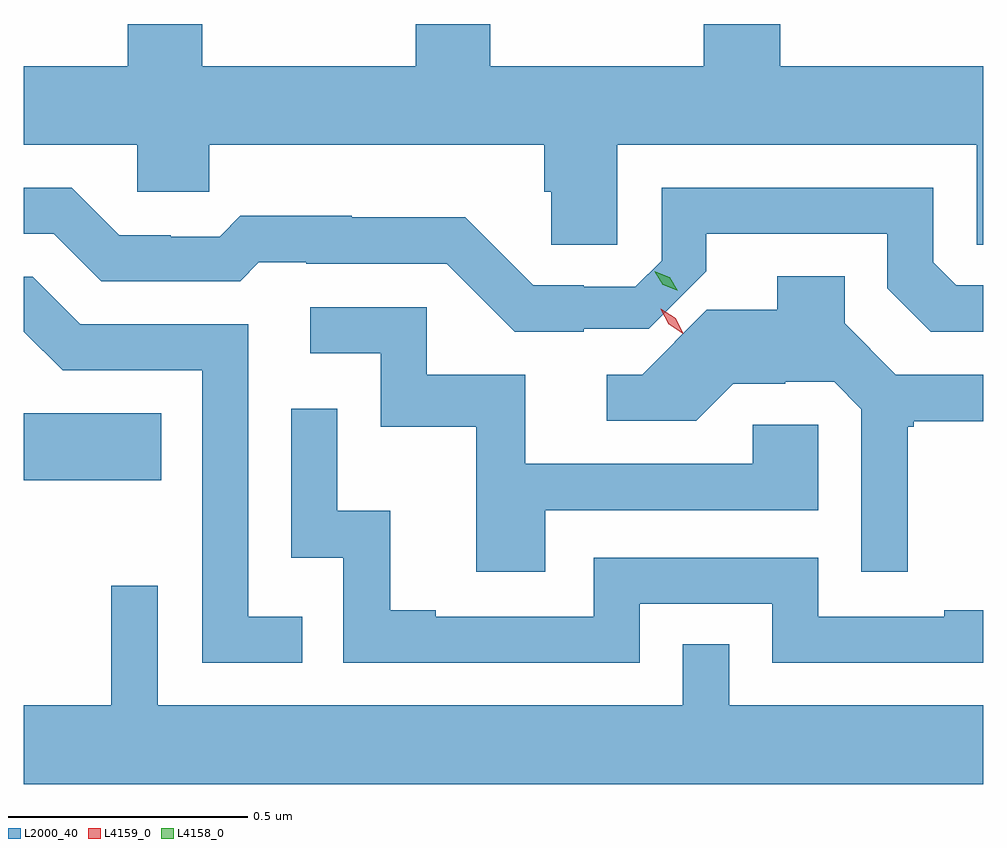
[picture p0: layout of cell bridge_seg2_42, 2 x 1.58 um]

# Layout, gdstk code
import gdstk
lib = gdstk.Library(unit=1e-6, precision=1e-09)
def R(c, l, rs):  # rectangles x0, y0, x1, y1
    for r in rs: c.add(gdstk.rectangle(r[:2], r[2:], *l))
def P(c, l, *ps):  # polygons
    for p in ps: c.add(gdstk.Polygon(p, *l))
L2000_40 = (2000, 40)
L4158_0 = (4158, 0)
L4159_0 = (4159, 0)

bridge_seg2_42 = lib.new_cell('bridge_seg2_42')
R(bridge_seg2_42, L2000_40, [(1143.816,604.313,1144.103,604.453)])
P(bridge_seg2_42, L2000_40, [(1145.053,605.012),(1145.802,605.012),(1145.802,604.804),(1145.816,604.804),(1145.816,605.176),(1145.393,605.176),(1145.393,605.264),(1145.233,605.264),(1145.233,605.176),(1144.788,605.176),(1144.788,605.264),(1144.633,605.264),(1144.633,605.176),(1144.188,605.176),(1144.188,605.264),(1144.033,605.264),(1144.033,605.176),(1143.816,605.176),(1143.816,605.012),(1144.053,605.012),(1144.053,604.914),(1144.203,604.914),(1144.203,605.012),(1144.901,605.012),(1144.901,604.914),(1144.915,604.914),(1144.915,604.804),(1145.053,604.804)],
  [(1144.983,604.629),(1145.119,604.629),(1145.239,604.749),(1145.239,604.827),(1145.616,604.827),(1145.616,604.713),(1145.706,604.623),(1145.816,604.623),(1145.816,604.719),(1145.76,604.719),(1145.712,604.767),(1145.712,604.923),(1145.146,604.923),(1145.146,604.771),(1145.091,604.716),(1144.983,604.716),(1144.983,604.719),(1144.878,604.719),(1144.736,604.861),(1144.5,604.861),(1144.5,604.864),(1144.267,604.864),(1144.225,604.821),(1144.122,604.821),(1144.122,604.824),(1144.015,604.824),(1143.916,604.923),(1143.816,604.923),(1143.816,604.827),(1143.879,604.827),(1143.978,604.728),(1144.267,604.728),(1144.306,604.767),(1144.405,604.767),(1144.405,604.764),(1144.698,604.764),(1144.839,604.623),(1144.983,604.623)],
  [(1145.659,604.425),(1145.671,604.425),(1145.671,604.436),(1145.816,604.436),(1145.816,604.533),(1145.634,604.533),(1145.527,604.64),(1145.527,604.738),(1145.387,604.738),(1145.387,604.668),(1145.24,604.668),(1145.105,604.533),(1145.031,604.533),(1145.031,604.437),(1145.218,604.437),(1145.295,604.514),(1145.403,604.514),(1145.403,604.518),(1145.505,604.518),(1145.562,604.461),(1145.562,604.122),(1145.659,604.122)],
  [(1144.397,604.029),(1144.284,604.029),(1144.284,604.638),(1143.934,604.638),(1143.835,604.737),(1143.816,604.737),(1143.816,604.623),(1143.897,604.542),(1144.188,604.542),(1144.188,603.933),(1144.397,603.933)],
  [(1144.903,604.251),(1145.472,604.251),(1145.472,604.429),(1145.335,604.429),(1145.335,604.347),(1144.861,604.347),(1144.861,604.533),(1144.656,604.533),(1144.656,604.674),(1144.413,604.674),(1144.413,604.578),(1144.56,604.578),(1144.56,604.425),(1144.759,604.425),(1144.759,604.122),(1144.903,604.122)],
  [(1145.1,604.056),(1145.376,604.056),(1145.376,603.933),(1145.816,603.933),(1145.816,604.042),(1145.735,604.042),(1145.735,604.029),(1145.472,604.029),(1145.472,604.152),(1145.004,604.152),(1145.004,604.029),(1144.675,604.029),(1144.675,604.042),(1144.58,604.042),(1144.58,604.25),(1144.47,604.25),(1144.47,604.462),(1144.374,604.462),(1144.374,604.152),(1144.482,604.152),(1144.482,603.933),(1145.1,603.933)],
  [(1145.816,603.844),(1145.286,603.844),(1145.286,603.971),(1145.19,603.971),(1145.19,603.844),(1144.095,603.844),(1144.095,604.093),(1143.998,604.093),(1143.998,603.844),(1143.816,603.844),(1143.816,603.68),(1145.816,603.68)])
P(bridge_seg2_42, L4158_0, [(1145.179,604.708),(1145.148,604.721),(1145.131,604.748),(1145.131,604.749),(1145.131,604.749),(1145.162,604.736),(1145.179,604.708),(1145.179,604.708)])
P(bridge_seg2_42, L4159_0, [(1145.191,604.618),(1145.16,604.638),(1145.144,604.67),(1145.144,604.671),(1145.144,604.671),(1145.175,604.651),(1145.191,604.618),(1145.191,604.618)])

lib.write_gds('bridge_seg2_42.gds')
